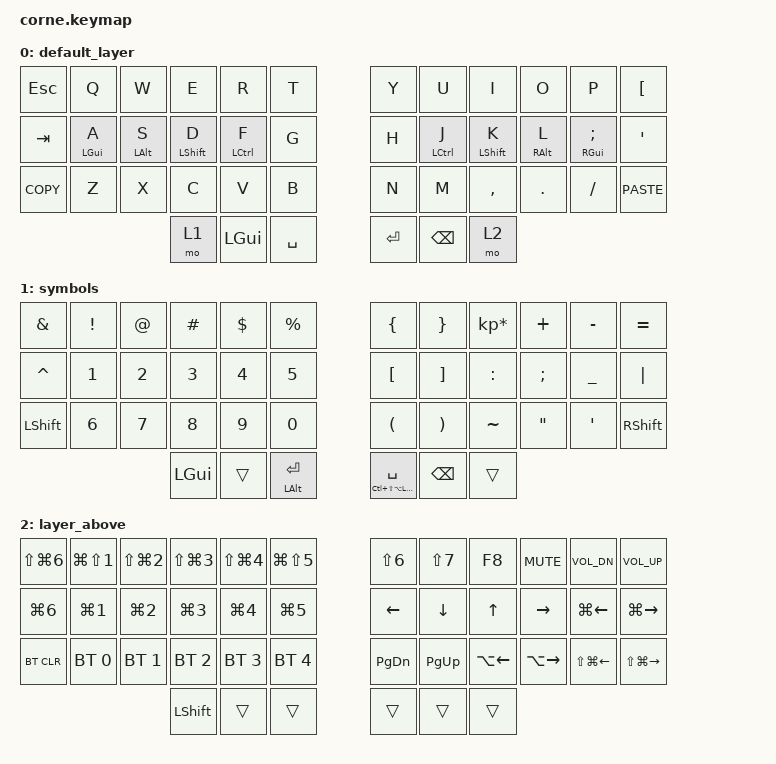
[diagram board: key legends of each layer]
/*
 * Copyright (c) 2020 The ZMK Contributors
 *
 * SPDX-License-Identifier: MIT
 */

#include <behaviors.dtsi>
#include <dt-bindings/zmk/bt.h>
#include <dt-bindings/zmk/keys.h>

/ {
    behaviors {
        tp: tap_preferred {
            compatible = "zmk,behavior-hold-tap";
            label = "TAP_PREFERRED";
            #binding-cells = <2>;
            tapping-term-ms = <200>;
            quick-tap-ms = <0>;
            flavor = "tap-preferred";
            bindings = <&kp>, <&kp>;
        };

        hm: hm {
            compatible = "zmk,behavior-hold-tap";
            label = "HM";
            bindings = <&kp>, <&kp>;

            #binding-cells = <2>;
            tapping-term-ms = <200>;
            quick-tap-ms = <175>;
            require-prior-idle-ms = <125>;
            flavor = "balanced";
        };
    };

    keymap {
        compatible = "zmk,keymap";

        default_layer {
            // -----------------------------------------------------------------------------------------
            // | TAB  |  Q  |  W  |  E  |  R  |    T    |   |  Y  |  U   |  I  |  O  |  P  | ESC |
            // | CTRL |  A  |  S  |  D  |  F  |    G    |   |  H  |  J   |  K  |  L  |  ;  |  LWR/'   |
            // | SHFT |  Z  |  X  |  C  |  V  |    B    |   |  N  |  M   |  ,  |  .  |  /  | SHFT |
            //                    | GUI | LWR | ALT/ENT |   | HYPER/SPC | BKSP  | RSE |

            bindings = <
&kp ESC     &kp Q           &kp W           &kp E             &kp R        &kp T        &kp Y      &kp U        &kp I             &kp O            &kp P               &kp LEFT_BRACKET
&kp TAB     &hm LEFT_GUI A  &hm LEFT_ALT S  &hm LEFT_SHIFT D  &hm LCTRL F  &kp G        &kp H      &hm LCTRL J  &hm LEFT_SHIFT K  &hm RIGHT_ALT L  &hm RGUI SEMICOLON  &kp SQT
&kp K_COPY  &kp Z           &kp X           &kp C             &kp V        &kp B        &kp N      &kp M        &kp COMMA         &kp DOT          &kp FSLH            &kp K_PASTE
                                            &mo 1             &kp LGUI     &kp SPACE    &kp ENTER  &kp BSPC     &mo 2
            >;
        };

        symbols {
            // -----------------------------------------------------------------------------------------
            // |      |  !  |  @  |  #  |  $  |    %     |   |  ^  |  &  |  *  |  (  |  )  |   \   |
            // |      |  1  |  2  |  3  |  4  |    5     |   |  -  |  =  |  `  |  [  |  ]  |  "|"  |
            // | SHFT |  6  |  7  |  8  |  9  |    0     |   |  _  |  +  |  ~  |  {  |  }  | RSHFT |
            //                     | GUI |     | ALT/ENT |   | HYPER/SPACE | BKSP |    |

            bindings = <
&kp AMPERSAND   &kp EXCL  &kp AT  &kp HASH  &kp DLLR  &kp PRCNT       &kp LEFT_BRACE              &kp RIGHT_BRACE        &kp KP_MULTIPLY  &kp PLUS           &kp MINUS         &kp EQUAL
&kp CARET       &kp N1    &kp N2  &kp N3    &kp N4    &kp N5          &kp LEFT_BRACKET            &kp RIGHT_BRACKET      &kp COLON        &kp SEMICOLON      &kp UNDERSCORE    &kp PIPE
&kp LEFT_SHIFT  &kp N6    &kp N7  &kp N8    &kp N9    &kp N0          &kp LEFT_PARENTHESIS        &kp RIGHT_PARENTHESIS  &kp TILDE        &kp DOUBLE_QUOTES  &kp SINGLE_QUOTE  &kp RSHFT
                                  &kp LGUI  &trans    &tp LALT RET    &tp LC(LS(LA(LGUI))) SPACE  &kp BSPC               &trans
            >;
        };

        layer_above {
            // -----------------------------------------------------------------------------------------
            // |       |  F1  |  F2  |  F3  |  F4  |  F5 |            |  F6  |  F7  |  F8  |  F9  |  F10  |   |
            // |       | Prev | Next | Vol - | Vol + | Play/Pause |   |      | LFT | DWN |  UP | RGT |     |     |
            // | BTCLR | BT1 | BT2 | BT3 | BT4 | BT5 |   |            |     |     |     |     |     |     |
            //                    |     |     |    |                  |     |     |     |

            bindings = <
&kp LS(LG(NUMBER_6))  &kp LG(LS(NUMBER_1))  &kp LS(LG(NUMBER_2))  &kp LS(LG(NUMBER_3))  &kp LS(LG(NUMBER_4))  &kp LG(LS(N5))      &kp LS(NUMBER_6)  &kp LS(N7)  &kp F8              &kp C_MUTE           &kp C_VOL_DN        &kp C_VOL_UP
&kp LG(NUMBER_6)      &kp LG(NUMBER_1)      &kp LG(NUMBER_2)      &kp LG(NUMBER_3)      &kp LG(NUMBER_4)      &kp LG(NUMBER_5)    &kp LEFT_ARROW    &kp DOWN    &kp UP              &kp RIGHT            &kp LG(LEFT_ARROW)  &kp LG(RIGHT)
&bt BT_CLR            &bt BT_SEL 0          &bt BT_SEL 1          &bt BT_SEL 2          &bt BT_SEL 3          &bt BT_SEL 4        &kp PG_DN         &kp PG_UP   &kp LA(LEFT_ARROW)  &kp LA(RIGHT_ARROW)  &kp LS(LG(LEFT))    &kp LS(LG(RIGHT))
                                                                  &kp LEFT_SHIFT        &trans                &trans              &trans            &trans      &trans
            >;
        };
    };
};
